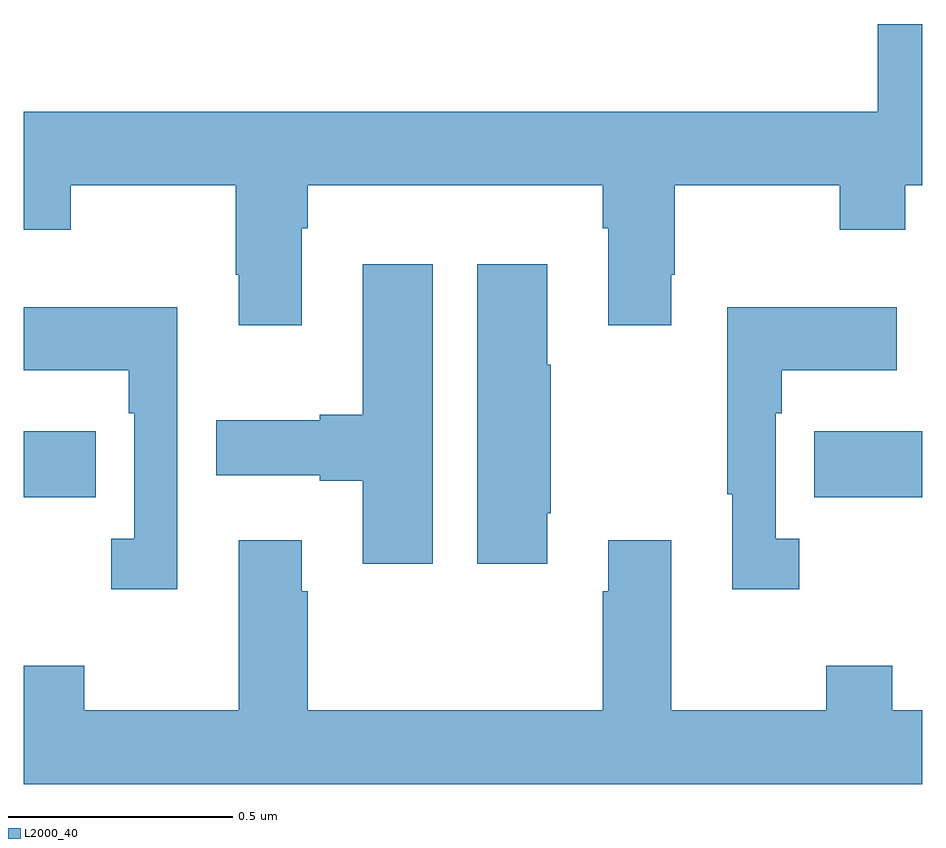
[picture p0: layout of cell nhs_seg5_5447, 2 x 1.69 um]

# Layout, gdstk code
import gdstk
lib = gdstk.Library(unit=1e-6, precision=1e-09)
def R(c, l, rs):  # rectangles x0, y0, x1, y1
    for r in rs: c.add(gdstk.rectangle(r[:2], r[2:], *l))
def P(c, l, *ps):  # polygons
    for p in ps: c.add(gdstk.Polygon(p, *l))
L2000_40 = (2000, 40)

nhs_seg5_5447 = lib.new_cell('nhs_seg5_5447')
R(nhs_seg5_5447, L2000_40, [(183,866.722,183.161,866.869), (184.759,866.722,185,866.869)])
P(nhs_seg5_5447, L2000_40, [(183.619,867.32),(183.632,867.32),(183.632,867.416),(184.289,867.416),(184.289,867.32),(184.301,867.32),(184.301,867.105),(184.441,867.105),(184.441,867.217),(184.449,867.217),(184.449,867.416),(184.816,867.416),(184.816,867.317),(184.962,867.317),(184.962,867.416),(185,867.416),(185,867.775),(184.901,867.775),(184.901,867.58),(183,867.58),(183,867.317),(183.105,867.317),(183.105,867.416),(183.472,867.416),(183.472,867.217),(183.479,867.217),(183.479,867.105),(183.619,867.105)],
  [(183.91,867.241),(183.755,867.241),(183.755,866.906),(183.659,866.906),(183.659,866.893),(183.429,866.893),(183.429,866.771),(183.659,866.771),(183.659,866.759),(183.755,866.759),(183.755,866.574),(183.91,866.574)],
  [(184.165,866.686),(184.173,866.686),(184.173,867.017),(184.165,867.017),(184.165,867.241),(184.01,867.241),(184.01,866.574),(184.165,866.574)],
  [(184.726,866.63),(184.674,866.63),(184.674,866.909),(184.687,866.909),(184.687,867.005),(184.943,867.005),(184.943,867.145),(184.566,867.145),(184.566,866.729),(184.577,866.729),(184.577,866.517),(184.726,866.517)],
  [(183.342,867.145),(183,867.145),(183,867.005),(183.234,867.005),(183.234,866.909),(183.246,866.909),(183.246,866.63),(183.195,866.63),(183.195,866.517),(183.342,866.517)],
  [(185,866.248),(184.933,866.248),(184.933,866.347),(184.786,866.347),(184.786,866.248),(184.441,866.248),(184.441,866.626),(184.301,866.626),(184.301,866.513),(184.289,866.513),(184.289,866.248),(183.632,866.248),(183.632,866.513),(183.619,866.513),(183.619,866.626),(183.479,866.626),(183.479,866.248),(183.135,866.248),(183.135,866.347),(183,866.347),(183,866.084),(185,866.084)])

lib.write_gds('nhs_seg5_5447.gds')
